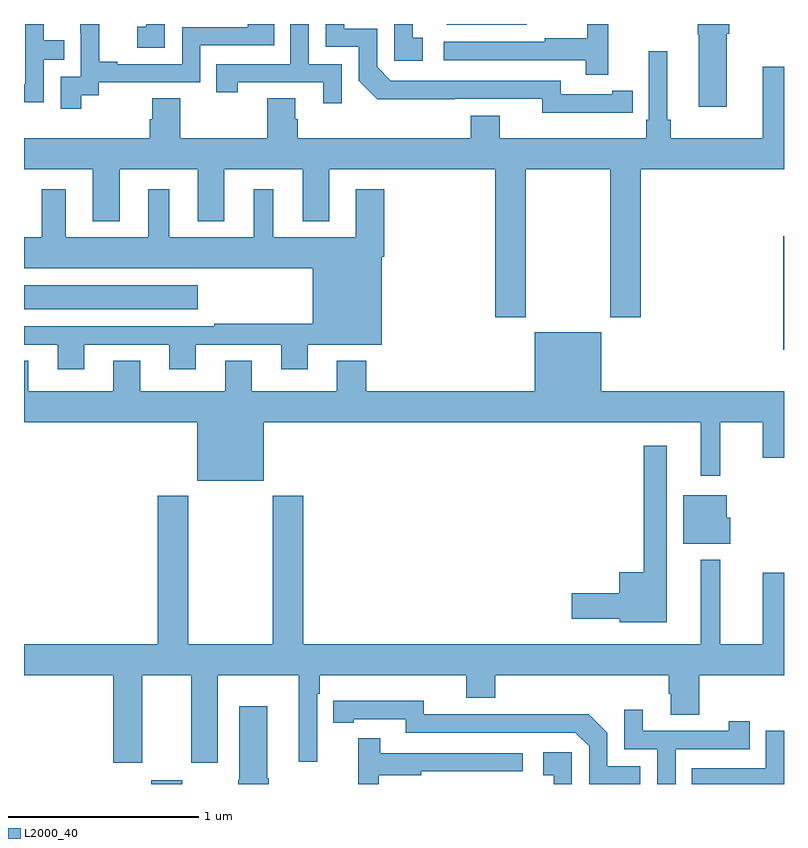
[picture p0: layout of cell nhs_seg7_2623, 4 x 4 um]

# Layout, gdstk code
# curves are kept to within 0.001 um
import gdstk
lib = gdstk.Library(unit=1e-6, precision=1e-09)
def R(c, l, rs):  # rectangles x0, y0, x1, y1
    for r in rs: c.add(gdstk.rectangle(r[:2], r[2:], *l))
def P(c, l, *ps):  # polygons
    for p in ps: c.add(gdstk.Polygon(p, *l))
L2000_40 = (2000, 40)

nhs_seg7_2623 = lib.new_cell('nhs_seg7_2623')
R(nhs_seg7_2623, L2000_40, [(281.669,1044,281.833,1044.019), (284.995,1046.285,285,1046.882), (281,1046.498,281.914,1046.626), (283.226,1047.995,283.645,1048)])
P(nhs_seg7_2623, L2000_40, [(281.302,1047.625),(281.394,1047.625),(281.394,1047.693),(281.928,1047.693),(281.928,1047.888),(282.317,1047.888),(282.317,1048),(282.177,1048),(282.177,1047.984),(281.832,1047.984),(281.832,1047.789),(281.491,1047.789),(281.491,1047.802),(281.396,1047.802),(281.396,1048),(281.297,1048),(281.297,1047.953),(281.298,1047.953),(281.298,1047.723),(281.193,1047.723),(281.193,1047.555),(281.302,1047.555)],
  [(281.742,1048),(281.644,1048),(281.644,1047.985),(281.595,1047.985),(281.595,1047.876),(281.742,1047.876)],
  [(283.099,1047.927),(283.046,1047.927),(283.046,1048),(282.948,1048),(282.948,1047.807),(283.099,1047.807)],
  [(281.103,1047.813),(281.213,1047.813),(281.213,1047.914),(281.103,1047.914),(281.103,1048),(281.007,1048),(281.007,1047.684),(281,1047.684),(281,1047.588),(281.103,1047.588)],
  [(284.698,1047.949),(284.711,1047.949),(284.711,1048),(284.545,1048),(284.545,1047.943),(284.552,1047.943),(284.552,1047.564),(284.698,1047.564)],
  [(284.096,1047.534),(284.204,1047.534),(284.204,1047.65),(284.096,1047.65),(284.096,1047.63),(283.824,1047.63),(283.824,1047.702),(282.93,1047.702),(282.858,1047.774),(282.858,1047.975),(282.685,1047.975),(282.685,1048),(282.588,1048),(282.588,1047.879),(282.762,1047.879),(282.762,1047.702),(282.86,1047.605),(283.728,1047.606),(283.728,1047.533)],
  [(284.075,1048),(283.965,1048),(283.965,1047.926),(283.741,1047.926),(283.741,1047.906),(283.209,1047.906),(283.209,1047.81),(283.957,1047.81),(283.957,1047.732),(284.075,1047.732)],
  [(282.672,1047.789),(282.498,1047.789),(282.498,1048),(282.402,1048),(282.402,1047.789),(282.013,1047.789),(282.013,1047.642),(282.124,1047.642),(282.124,1047.693),(282.575,1047.693),(282.575,1047.582),(282.672,1047.582)],
  [(283.641,1047.236),(284.086,1047.236),(284.086,1046.457),(284.246,1046.457),(284.246,1047.236),(285,1047.236),(285,1047.775),(284.888,1047.775),(284.888,1047.4),(284.405,1047.4),(284.405,1047.496),(284.386,1047.496),(284.386,1047.856),(284.289,1047.856),(284.289,1047.496),(284.276,1047.496),(284.276,1047.4),(283.504,1047.4),(283.504,1047.517),(283.352,1047.517),(283.352,1047.4),(282.44,1047.4),(282.44,1047.498),(282.427,1047.498),(282.427,1047.608),(282.28,1047.608),(282.28,1047.4),(281.823,1047.4),(281.823,1047.608),(281.675,1047.608),(281.675,1047.498),(281.663,1047.498),(281.663,1047.4),(281,1047.4),(281,1047.236),(281.363,1047.236),(281.363,1046.963),(281.503,1046.963),(281.503,1047.236),(281.915,1047.236),(281.915,1046.963),(282.055,1046.963),(282.055,1047.236),(282.467,1047.236),(282.467,1046.963),(282.607,1046.963),(282.607,1047.236),(283.481,1047.236),(283.481,1046.457),(283.641,1046.457)],
  [(281.317,1046.313),(281.765,1046.313),(281.765,1046.184),(281.905,1046.184),(281.905,1046.313),(282.353,1046.313),(282.353,1046.184),(282.493,1046.184),(282.493,1046.312),(282.883,1046.312),(282.883,1046.774),(282.896,1046.774),(282.896,1047.13),(282.746,1047.13),(282.746,1046.878),(282.313,1046.878),(282.313,1047.13),(282.209,1047.13),(282.209,1046.878),(281.764,1046.878),(281.764,1047.13),(281.654,1047.13),(281.654,1046.878),(281.221,1046.878),(281.221,1047.13),(281.093,1047.13),(281.093,1046.878),(281,1046.878),(281,1046.714),(282.521,1046.714),(282.521,1046.422),(282.001,1046.422),(282.001,1046.409),(281,1046.409),(281,1046.313),(281.177,1046.313),(281.177,1046.184),(281.317,1046.184)],
  [(282.262,1045.904),(284.561,1045.904),(284.561,1045.623),(284.665,1045.623),(284.665,1045.904),(284.888,1045.904),(284.888,1045.716),(285,1045.716),(285,1046.068),(284.038,1046.068),(284.038,1046.377),(283.688,1046.377),(283.688,1046.068),(282.8,1046.068),(282.8,1046.227),(282.647,1046.227),(282.647,1046.068),(282.199,1046.068),(282.199,1046.228),(282.059,1046.228),(282.059,1046.068),(281.611,1046.068),(281.611,1046.228),(281.471,1046.228),(281.471,1046.068),(281.023,1046.068),(281.023,1046.228),(281,1046.228),(281,1045.904),(281.912,1045.904),(281.912,1045.595),(282.262,1045.595)],
  [(284.383,1045.78),(284.262,1045.78),(284.262,1045.114),(284.132,1045.114),(284.132,1045.004),(283.884,1045.004),(283.884,1044.869),(284.136,1044.869),(284.136,1044.851),(284.383,1044.851)],
  [(284.716,1045.401),(284.698,1045.401),(284.698,1045.519),(284.471,1045.519),(284.471,1045.265),(284.716,1045.265)],
  [(281,1044.572),(281.471,1044.572),(281.471,1044.111),(281.623,1044.111),(281.623,1044.572),(281.879,1044.572),(281.879,1044.111),(282.019,1044.111),(282.019,1044.572),(282.446,1044.572),(282.446,1044.117),(282.543,1044.117),(282.543,1044.476),(282.557,1044.476),(282.557,1044.572),(283.328,1044.572),(283.328,1044.455),(283.481,1044.455),(283.481,1044.572),(284.393,1044.572),(284.393,1044.474),(284.405,1044.474),(284.405,1044.364),(284.553,1044.364),(284.553,1044.572),(285,1044.572),(285,1045.111),(284.888,1045.111),(284.888,1044.736),(284.665,1044.736),(284.665,1045.18),(284.561,1045.18),(284.561,1044.736),(282.47,1044.736),(282.47,1045.516),(282.31,1045.516),(282.31,1044.736),(281.865,1044.736),(281.865,1045.516),(281.705,1045.516),(281.705,1044.736),(281,1044.736)],
  [(284.244,1044.093),(284.07,1044.093),(284.07,1044.27),(283.972,1044.368),(283.564,1044.368),(283.564,1044.366),(283.104,1044.366),(283.104,1044.439),(282.628,1044.438),(282.628,1044.322),(282.736,1044.322),(282.736,1044.342),(283.008,1044.342),(283.008,1044.27),(283.902,1044.27),(283.974,1044.198),(283.974,1044),(284.244,1044)],
  [(282.288,1044.029),(282.28,1044.029),(282.28,1044.409),(282.134,1044.409),(282.134,1044.023),(282.127,1044.023),(282.127,1044),(282.288,1044)],
  [(284.43,1044.183),(284.819,1044.183),(284.819,1044.331),(284.708,1044.331),(284.708,1044.279),(284.257,1044.279),(284.257,1044.391),(284.16,1044.391),(284.16,1044.183),(284.334,1044.183),(284.334,1044),(284.43,1044)],
  [(285,1044.279),(284.904,1044.279),(284.904,1044.084),(284.515,1044.084),(284.515,1044),(285,1044)],
  [(282.868,1044.046),(283.091,1044.046),(283.091,1044.066),(283.624,1044.066),(283.624,1044.162),(282.875,1044.162),(282.875,1044.241),(282.758,1044.241),(282.758,1044),(282.868,1044)],
  [(283.884,1044.166),(283.734,1044.166),(283.734,1044.045),(283.787,1044.045),(283.787,1044),(283.884,1044)])

lib.write_gds('nhs_seg7_2623.gds')
